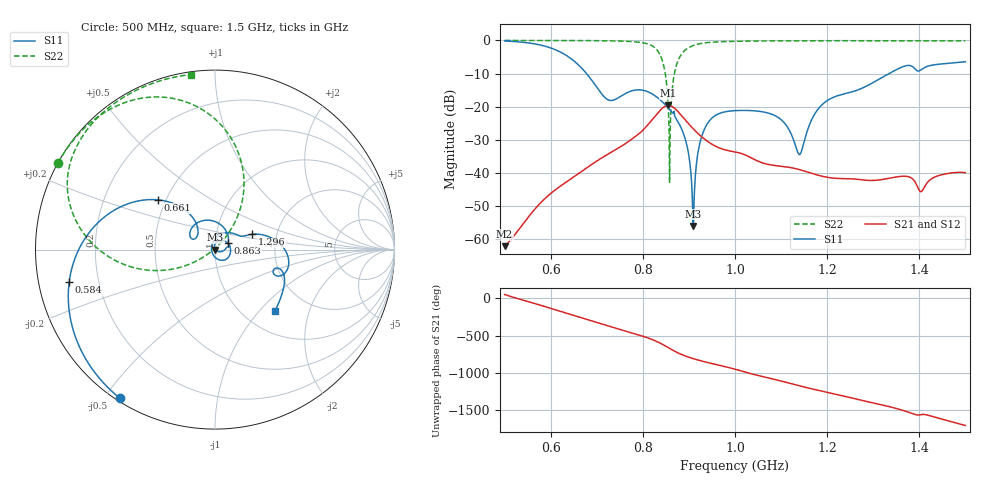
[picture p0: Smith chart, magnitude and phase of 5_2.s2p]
! TOUCHSTONE file generated by CST MICROWAVE STUDIO
! Date and time: Fri Oct  2 16:32:34 2020
! Project name: Scenario_1_Free_Space_out_of_line.cst
! Parameters = {Lambda=346.42; Step_1=17.321; dy1=278.276; dx1=346; L_HA=400; MT=2.54; Rad_Dielectric=30; Rad_Lower=7.3; Rad_Upper=30; a_HA=580; a_WG=246; b_HA=500; b_WG=121; c_HA=0; c_WG=187; d_feed=85; h_feed=15; h_lower=18; h_upper=40}
! Header version: 2018
! Port assignment regex: !\s*Touchstone port\s*([0-9]+)\s*=\s*(CST MWS port|CST DS port)\s*([0-9]+|Zmin|Zmax)\s*\(\"(.*)\"\)(\s*mode\s*([0-9]+))?.*
! Touchstone port assignment:
! Touchstone port 1 = CST MWS port 1 ("")
! Touchstone port 2 = CST MWS port 2 ("")
# GHz S DB R 50
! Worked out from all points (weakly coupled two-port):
!   1003 points, 500 MHz to 1.5 GHz, reference 50 ohm
!   highest |S21| = -19.63 dB at 855 MHz (marker M1); lowest = -62.2 dB at 500 MHz (marker M2)
!   lowest |S11| = -56.1 dB at 909 MHz (marker M3), VSWR 1.00, Z = 50.2 + j0.0129 ohm
!   |S11| at or under -10 dB: 677.7 MHz to 1.334 GHz (656.8 MHz wide, 65.3 % of centre)
!   |S22| runs from -42.9 to 0.0 dB; largest |S21 - S12| = 9.5e-06
!   S11 on the Smith chart (normalised r, x): 500 MHz: 0.01, -0.55; 584 MHz: 0.09, -0.11; 661 MHz: 0.45, +0.31; 863 MHz: 1.16, +0.09; 1.296 GHz: 1.49, +0.27; 1.5 GHz: 1.38, -1.22
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0.5  -0.15 -122.7  -62.18 49.2  -62.18 49.2  -0.01 151.1
0.584  -1.60 -167.6  -48.25 -105.2  -48.25 -105.2  -0.02 145.3
0.661  -7.51 138.9  -40.19 109.9  -40.19 109.9  -0.04 138.9
0.667  -8.35 135.2  -39.61 98.7  -39.61 98.7  -0.04 138.3
0.726  -18.03 141.3  -34.24 -12.5  -34.24 -12.5  -0.12 131.3
0.834  -17.52 69.5  -21.66 131.3  -21.66 131.3  -3.51 84.9
0.848  -19.32 48.9  -19.92 85.8  -19.92 85.8  -9.49 62.2
0.855  -20.37 38.5  -19.63 60.6  -19.63 60.6  -19.45 50.4
0.863  -21.67 26.8  -19.93 32.1  -19.93 32.1  -16.01 -150.0
0.875  -24.26 5.8  -21.33 -6.7  -21.33 -6.7  -6.57 -167.8
0.896  -31.95 -27.9  -24.68 -60.2  -24.68 -60.2  -2.47 171.7
0.909  -56.11 4.7  -26.66 -86.6  -26.66 -86.6  -1.55 163.8
0.922  -32.15 96.7  -28.43 -109.8  -28.43 -109.8  -1.04 157.9
0.936  -26.14 71.9  -30.06 -132.3  -30.06 -132.3  -0.72 153.0
1  -21.21 -3.3  -33.68 132.0  -33.68 132.0  -0.27 140.3
1.093  -23.23 -59.7  -37.90 -15.1  -37.90 -15.1  -0.13 130.3
1.14  -34.49 -173.8  -39.05 -90.1  -39.05 -90.1  -0.10 126.3
1.167  -23.78 86.1  -40.19 -131.2  -40.19 -131.2  -0.09 124.1
1.296  -13.01 22.4  -42.33 46.9  -42.33 46.9  -0.08 114.3
1.334  -10.04 12.6  -41.67 -7.1  -41.67 -7.1  -0.09 111.4
1.404  -8.86 -16.5  -45.70 -115.3  -45.70 -115.3  -0.10 105.9
1.5  -6.44 -45.6  -39.96 100.1  -39.96 100.1  -0.14 97.9
